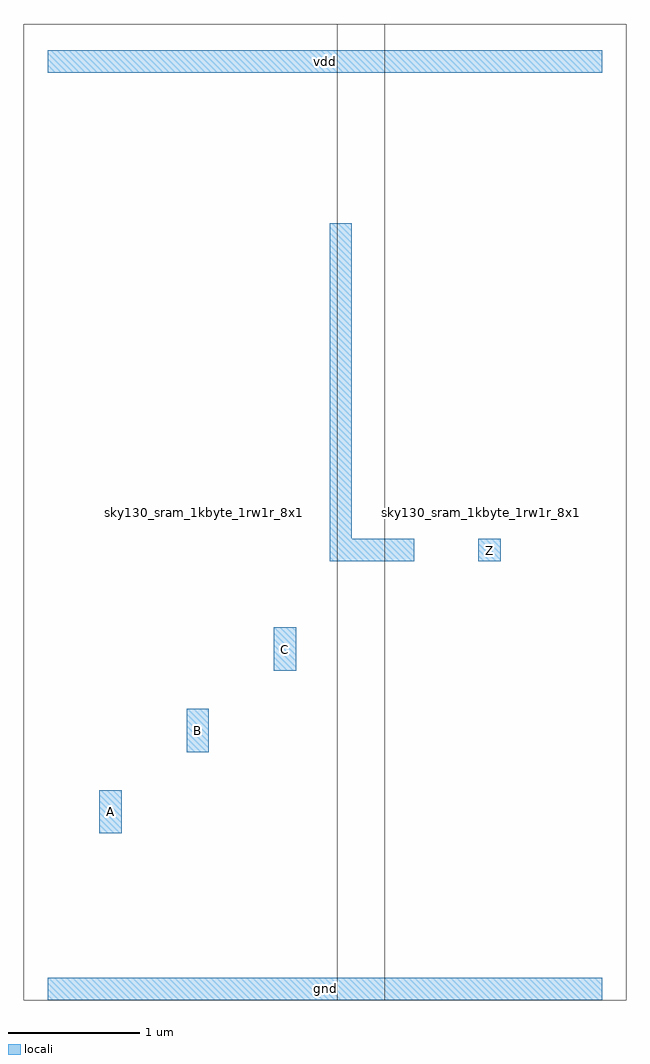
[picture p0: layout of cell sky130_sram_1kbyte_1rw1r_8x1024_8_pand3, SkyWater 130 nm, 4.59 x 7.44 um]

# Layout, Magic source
magic
tech sky130A
magscale 1 2
<< locali >>
rect 0 1397 846 1431
rect 430 686 464 1167
rect 430 652 559 686
rect 657 652 691 686
rect 345 485 379 551
rect 212 361 246 427
rect 79 237 113 303
rect 0 -17 846 17
use sky130_sram_1kbyte_1rw1r_8x1024_8_pdriver_0  sky130_sram_1kbyte_1rw1r_8x1024_8_pdriver_0_0
transform 1 0 478 0 1 0
box -36 -17 404 1471
use sky130_sram_1kbyte_1rw1r_8x1024_8_pnand3  sky130_sram_1kbyte_1rw1r_8x1024_8_pnand3_0
transform 1 0 0 0 1 0
box -36 -17 514 1471
<< labels >>
rlabel locali s 674 669 674 669 4 Z
port 1 nsew
rlabel locali s 96 270 96 270 4 A
port 2 nsew
rlabel locali s 229 394 229 394 4 B
port 3 nsew
rlabel locali s 362 518 362 518 4 C
port 4 nsew
rlabel locali s 423 0 423 0 4 gnd
port 5 nsew
rlabel locali s 423 1414 423 1414 4 vdd
port 6 nsew
<< properties >>
string FIXED_BBOX 0 0 846 1414
string GDS_FILE $PDKPATH/libs.ref/sky130_sram_macros/gds/sky130_sram_1kbyte_1rw1r_8x1024_8.gds
string GDS_END 348542
string GDS_START 347294
<< end >>
